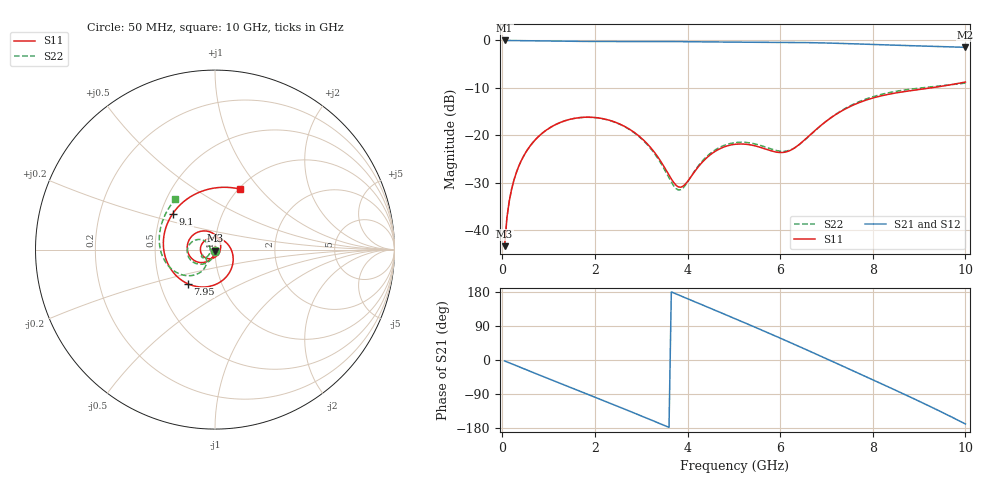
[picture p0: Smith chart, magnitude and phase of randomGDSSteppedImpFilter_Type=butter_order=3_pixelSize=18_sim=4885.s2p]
! freq	dB(S11)	phase(S11)	dB(S12)	phase(S12)
!  dB(S21)	phase(S21)	dB(S22)	phase(S22)
!S-par simulation data
#  GHz  S  DB  R 50
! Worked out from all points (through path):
!   200 points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, 50 MHz to 10 GHz, reference 50 ohm
!   highest |S21| = -0.01 dB at 50 MHz (marker M1); lowest = -1.5 dB at 10 GHz (marker M2)
!   group delay of S21, straight-line fit = 146 ps
!   lowest |S11| = -43.3 dB at 50 MHz (marker M3), VSWR 1.01, Z = 50 - j0.683 ohm
!   |S11| at or under -10 dB: start of sweep to 9.246 GHz
!   |S22| runs from -43.3 to -9.0 dB; largest |S21 - S12| = 0
!   S11 on the Smith chart (normalised r, x): 50 MHz: 1.00, -0.01; 7.95 GHz: 0.69, -0.28; 9.1 GHz: 0.58, +0.25; 10 GHz: 1.01, +0.79
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0.05  -43.31 -90.9  -0.01 -2.5  -0.01 -2.5  -43.30 -90.5
0.1  -37.33 -94.6  -0.01 -5.0  -0.01 -5.0  -37.32 -93.8
0.2  -31.36 -100.6  -0.02 -10.0  -0.02 -10.0  -31.35 -99.1
0.5  -23.68 -117.2  -0.05 -24.8  -0.05 -24.8  -23.67 -113.4
1.15  -17.71 -152.1  -0.14 -56.7  -0.14 -56.7  -17.71 -143.0
1.75  -16.18 175.5  -0.20 -85.9  -0.20 -85.9  -16.19 -169.2
2.5  -17.44 132.5  -0.22 -122.6  -0.22 -122.6  -17.49 160.2
3  -20.53 99.3  -0.22 -147.5  -0.22 -147.5  -20.65 143.6
3.4  -25.12 63.2  -0.22 -167.7  -0.22 -167.7  -25.45 139.5
3.85  -30.90 -24.9  -0.25 169.4  -0.25 169.4  -31.43 -172.7
4.45  -24.40 -122.3  -0.31 138.7  -0.31 138.7  -24.12 -138.2
5.05  -21.84 -173.8  -0.36 107.8  -0.36 107.8  -21.48 -149.5
5.45  -22.17 149.8  -0.39 87.0  -0.39 87.0  -21.76 -155.4
5.85  -23.36 102.4  -0.40 65.8  -0.40 65.8  -22.99 -151.6
6.25  -22.99 40.5  -0.42 44.3  -0.42 44.3  -22.93 -133.1
6.7  -19.41 -20.3  -0.48 19.8  -0.48 19.8  -19.47 -119.7
7.3  -15.00 -77.1  -0.62 -13.3  -0.62 -13.3  -14.91 -128.4
7.95  -12.27 -128.7  -0.84 -49.4  -0.84 -49.4  -12.01 -149.8
8.35  -11.32 -159.8  -0.97 -71.8  -0.97 -71.8  -10.99 -164.6
9.1  -10.20 139.9  -1.18 -114.5  -1.18 -114.5  -9.94 167.1
9.6  -9.47 98.9  -1.32 -144.2  -1.32 -144.2  -9.44 146.9
10  -8.76 67.5  -1.46 -168.8  -1.46 -168.8  -8.96 128.2
